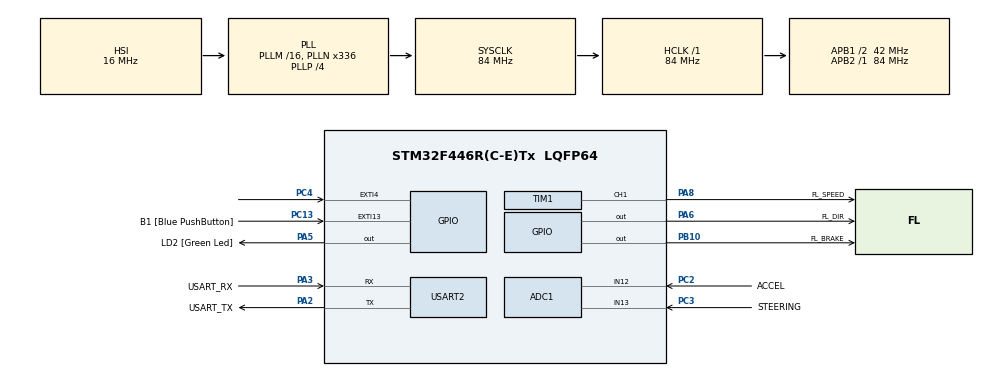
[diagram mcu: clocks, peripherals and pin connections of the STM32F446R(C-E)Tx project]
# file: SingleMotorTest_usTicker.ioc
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ADC1.Channel-0\#ChannelRegularConversion=ADC_CHANNEL_12
ADC1.Channel-1\#ChannelRegularConversion=ADC_CHANNEL_13
ADC1.DiscontinuousConvMode=ENABLE
ADC1.NbrOfConversion=2
ADC1.NbrOfConversionFlag=1
ADC1.NbrOfDiscConversion=2
ADC1.Rank-0\#ChannelRegularConversion=1
ADC1.Rank-1\#ChannelRegularConversion=2
ADC1.SamplingTime-0\#ChannelRegularConversion=ADC_SAMPLETIME_480CYCLES
ADC1.SamplingTime-1\#ChannelRegularConversion=ADC_SAMPLETIME_480CYCLES
ADC1.ScanConvMode=ENABLE
ADC1.master=1
Mcu.Family=STM32F4
Mcu.Name=STM32F446R(C-E)Tx
Mcu.Package=LQFP64
NVIC.EXTI4_IRQn=true\:0\:0\:false\:false\:true\:true\:true\:true
NVIC.PriorityGroup=NVIC_PRIORITYGROUP_0
NVIC.TIM1_UP_TIM10_IRQn=true\:0\:0\:false\:false\:true\:true\:true\:true
NVIC.TIM2_IRQn=true\:0\:0\:false\:false\:true\:true\:true\:true
PA13.GPIO_Label=TMS
PA13.Mode=Serial_Wire
PA13.Signal=SYS_JTMS-SWDIO
PA14.GPIO_Label=TCK
PA14.Mode=Serial_Wire
PA14.Signal=SYS_JTCK-SWCLK
PA2.GPIO_Label=USART_TX
PA2.Mode=Asynchronous
PA2.Signal=USART2_TX
PA3.GPIO_Label=USART_RX
PA3.Mode=Asynchronous
PA3.Signal=USART2_RX
PA5.GPIO_Label=LD2 [Green Led]
PA5.Signal=GPIO_Output
PA6.GPIO_Label=FL_DIR
PA6.Signal=GPIO_Output
PA8.GPIO_Label=FL_SPEED
PA8.Signal=S_TIM1_CH1
PB10.GPIO_Label=FL_BRAKE
PB10.Signal=GPIO_Output
PB3.GPIO_Label=SWO
PB3.Signal=SYS_JTDO-SWO
PC13.GPIO_Label=B1 [Blue PushButton]
PC13.GPIO_ModeDefaultEXTI=GPIO_MODE_IT_FALLING
PC13.Signal=GPXTI13
PC14-OSC32_IN.Mode=LSE-External-Oscillator
PC14-OSC32_IN.Signal=RCC_OSC32_IN
PC15-OSC32_OUT.Mode=LSE-External-Oscillator
PC15-OSC32_OUT.Signal=RCC_OSC32_OUT
PC2.GPIO_Label=ACCEL
PC2.Signal=ADCx_IN12
PC3.GPIO_Label=STEERING
PC3.Signal=ADCx_IN13
PC4.GPIO_ModeDefaultEXTI=GPIO_MODE_IT_RISING_FALLING
PC4.Signal=GPXTI4
PH0-OSC_IN.Mode=HSE-External-Oscillator
PH0-OSC_IN.Signal=RCC_OSC_IN
PH1-OSC_OUT.Mode=HSE-External-Oscillator
PH1-OSC_OUT.Signal=RCC_OSC_OUT
ProjectManager.HeapSize=0x200
ProjectManager.StackSize=0x400
ProjectManager.TargetToolchain=STM32CubeIDE
RCC.48MHZClocksFreq_Value=84000000
RCC.AHBFreq_Value=84000000
RCC.APB1CLKDivider=RCC_HCLK_DIV2
RCC.APB1Freq_Value=42000000
RCC.APB1TimFreq_Value=84000000
RCC.APB2Freq_Value=84000000
RCC.APB2TimFreq_Value=84000000
RCC.CortexFreq_Value=84000000
RCC.FLatency-AdvancedSettings=FLASH_LATENCY_2
RCC.HCLKFreq_Value=84000000
RCC.HSE_VALUE=8000000
RCC.HSI_VALUE=16000000
RCC.PLLN=336
RCC.PLLP=RCC_PLLP_DIV4
RCC.SYSCLKFreq_VALUE=84000000
RCC.SYSCLKSource=RCC_SYSCLKSOURCE_PLLCLK
RCC.USBFreq_Value=168000000
RCC.VCOOutputFreq_Value=336000000
SH.ADCx_IN12.0=ADC1_IN12,IN12
SH.ADCx_IN13.0=ADC1_IN13,IN13
SH.S_TIM1_CH1.0=TIM1_CH1,PWM Generation1 CH1
TIM1.Channel-PWM\ Generation1\ CH1=TIM_CHANNEL_1
TIM1.Period=800-1
TIM1.Prescaler=42-1
TIM1.Pulse-PWM\ Generation1\ CH1=700
TIM2.Period=20-1
TIM2.Prescaler=42-1
USART2.VirtualMode=VM_ASYNC
VP_TIM1_VS_ClockSourceINT.Mode=Internal
VP_TIM2_VS_ClockSourceINT.Mode=Internal
board=NUCLEO-F446RE

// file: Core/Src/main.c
/* USER CODE BEGIN Header */
/**
  ******************************************************************************
  * @file           : main.c
  * @brief          : Main program body
  ******************************************************************************
  * @attention
  *
  * Copyright (c) 2023 STMicroelectronics.
  * All rights reserved.
  *
  * This software is licensed under terms that can be found in the LICENSE file
  * in the root directory of this software component.
  * If no LICENSE file comes with this software, it is provided AS-IS.
  *
  ******************************************************************************
  */
/* USER CODE END Header */
#include "main.h"
#include "adc.h"
#include "tim.h"
#include "usart.h"
#include "gpio.h"

/* USER CODE BEGIN Includes */

#include "MY36GP_3650.h"

/* USER CODE END Includes */

void SystemClock_Config(void);

/* USER CODE BEGIN 0 */

uint16_t u16_counter_10us = 0;

void HAL_TIM_PeriodElapsedCallback(TIM_HandleTypeDef *htim)
{
	/*
	 * TIM10 이용 1us ticker 구현
	 *
	 * NUCELO - F446RE 보드 이용
	 * APB1 = 84Mhz
	 * APB2 = 84Mhz
	 *
	 * TIM10
	 * prescaler 	: 42 - 1
	 * counter		: 20 - 1
	 */
	if(htim->Instance == TIM2)
	{
		u16_counter_10us += 1;
	}

}

/*
 * GPIO interrupt 함수
 * EXTI4 이용 (PC4 핀)
 * TIM10으로 구현한 1us ticker를 이용하여 인터럽트 발생 시마다
 * 현재의 측정 tick값에서 이전의 tick값의 차를 주기로 설정
 *
 * 전역변수 u32_FL_half_period_10us에 계산한 주기값 저장
 * us 단위로 변환시킬려면 해당 변수에 *10을 하여 이용
 */
uint16_t u16_FL_half_period_10us;

void HAL_GPIO_EXTI_Callback(uint16_t GPIO_Pin)
{
//	static uint16_t u16_FL_tick_10us[2];
//
//
//	if(GPIO_Pin == GPIO_PIN_4)
//	{
////		HAL_GPIO_TogglePin(GPIOA, GPIO_PIN_5);		// for test
//
//		u16_FL_tick_10us[0] = u16_FL_tick_10us[1];
//		u16_FL_tick_10us[1] = u16_counter_10us;		// from global variable
//
//		u16_FL_half_period_10us = u16_FL_tick_10us[1] - u16_FL_tick_10us[0];
//	}
	static uint16_t u16_FL_tick_10us;

	if(GPIO_Pin == GPIO_PIN_4)
	{
//		HAL_GPIO_TogglePin(GPIOA, GPIO_PIN_5);		// for test
		uint16_t u16_ret_val = u16_counter_10us - u16_FL_tick_10us;
		u16_FL_tick_10us = u16_counter_10us;		// 미리 값 저장

//		if(u16_ret_val > 600)	u16_FL_half_period_10us = u16_ret_val;
		u16_FL_half_period_10us = u16_ret_val;
	}
}

/* USER CODE END 0 */

int main(void)
{
  /* USER CODE BEGIN 1 */

	uint32_t u32_adc_accel_value;
	uint32_t u32_adc_steering_value;
    uint32_t u32_ccr_value;
    float f_voltage;
    float f_FL_input_RPM;

//    float f_FL_measured_RPM;
    float f_FL_measured_RPM, f_FL_filtered_RPM;
    uint32_t u32_half_period_us, u32_filtered_half_period_us;

  /* USER CODE END 1 */

  /* MCU Configuration--------------------------------------------------------*/

  /* Reset of all peripherals, Initializes the Flash interface and the Systick. */
  HAL_Init();

  /* Configure the system clock */
  SystemClock_Config();

  /* Initialize all configured peripherals */
  MX_GPIO_Init();
  MX_USART2_UART_Init();
  MX_ADC1_Init();
  MX_TIM1_Init();
  MX_TIM2_Init();
  /* USER CODE BEGIN 2 */

 	  HAL_TIM_Base_Start_IT(&htim2);

  	  HAL_TIM_PWM_Start(&htim1, TIM_CHANNEL_1);

//  	uint32_t index = 0;
//	uint32_t u32_sum = 0;
//	uint32_t u32_data[WINDOW_SIZE] = {0, 0, 0, 0, 0, 0, 0, 0, 0, 0};
//	uint32_t u32_result;

//  uint8_t filter_index = 0;
//	float f_sum = 0;
//	float f_data[WINDOW_SIZE] = {0., 0., 0., 0., 0., 0., 0., 0., 0., 0.};
//	float f_result;
//

  /* USER CODE END 2 */

  /* Infinite loop */
  while (1)
  {

    /* USER CODE BEGIN 3 */

      HAL_ADC_Start(&hadc1);
      HAL_ADC_PollForConversion(&hadc1, 100);   // adc값 읽힐 때까지 최대 100ms 대기
      u32_adc_accel_value = HAL_ADC_GetValue(&hadc1);
//      HAL_ADC_Stop(&hadc1);

      HAL_ADC_PollForConversion(&hadc1, 100);   // adc값 읽힐 때까지 최대 100ms 대기
      u32_adc_steering_value = HAL_ADC_GetValue(&hadc1);

      HAL_ADC_Stop(&hadc1);

      f_voltage = float_map((float)u32_adc_accel_value, 0.0, (float)ADC_MAX_VALUE, 0.0, 3.3);		// 3.3은 stm32 구동전압

      f_FL_input_RPM = float_map((float)u32_adc_accel_value, ADC_MIN_VALUE, ADC_MAX_VALUE, 0.0, RATED_RPM);
      if (f_FL_input_RPM < 0.0)	f_FL_input_RPM = 0.0;

	  if (u32_adc_steering_value < (ADC_MAX_VALUE / 2))
		  FL_RunMotor(f_FL_input_RPM, CCW);
      else
    	  FL_RunMotor(f_FL_input_RPM, CW);

      u32_half_period_us = u16_FL_half_period_10us * 10;

      f_FL_measured_RPM = Period2RPM(u32_half_period_us * 2.);
//      f_FL_filtered_RPM = AvgFilter(f_FL_measured_RPM);

      if(f_FL_measured_RPM < 600)	f_FL_filtered_RPM = f_MovingAverage(f_FL_measured_RPM);		// 이거 함수 하나로 묶어야함

//      printf("%d\t%f \r\n", u32_half_period_us, f_FL_measured_RPM);
//      printf("input RPM %f\t meas %f\t filt %f \r\n", f_FL_input_RPM, f_FL_measured_RPM, f_result);

      printf("input RPM %f\t meas %f\t filt %f \r\n", f_FL_input_RPM, f_FL_measured_RPM, f_FL_filtered_RPM);
//      printf("filt %f \r\n", f_FL_filtered_RPM);

  }

  /* USER CODE END 3 */
}

void SystemClock_Config(void)
{
  RCC_OscInitTypeDef RCC_OscInitStruct = {0};
  RCC_ClkInitTypeDef RCC_ClkInitStruct = {0};

  /** Configure the main internal regulator output voltage
  */
  __HAL_RCC_PWR_CLK_ENABLE();
  __HAL_PWR_VOLTAGESCALING_CONFIG(PWR_REGULATOR_VOLTAGE_SCALE3);

  /** Initializes the RCC Oscillators according to the specified parameters
  * in the RCC_OscInitTypeDef structure.
  */
  RCC_OscInitStruct.OscillatorType = RCC_OSCILLATORTYPE_HSI;
  RCC_OscInitStruct.HSIState = RCC_HSI_ON;
  RCC_OscInitStruct.HSICalibrationValue = RCC_HSICALIBRATION_DEFAULT;
  RCC_OscInitStruct.PLL.PLLState = RCC_PLL_ON;
  RCC_OscInitStruct.PLL.PLLSource = RCC_PLLSOURCE_HSI;
  RCC_OscInitStruct.PLL.PLLM = 16;
  RCC_OscInitStruct.PLL.PLLN = 336;
  RCC_OscInitStruct.PLL.PLLP = RCC_PLLP_DIV4;
  RCC_OscInitStruct.PLL.PLLQ = 2;
  RCC_OscInitStruct.PLL.PLLR = 2;
  if (HAL_RCC_OscConfig(&RCC_OscInitStruct) != HAL_OK)
  {
    Error_Handler();
  }

  /** Initializes the CPU, AHB and APB buses clocks
  */
  RCC_ClkInitStruct.ClockType = RCC_CLOCKTYPE_HCLK|RCC_CLOCKTYPE_SYSCLK
                              |RCC_CLOCKTYPE_PCLK1|RCC_CLOCKTYPE_PCLK2;
  RCC_ClkInitStruct.SYSCLKSource = RCC_SYSCLKSOURCE_PLLCLK;
  RCC_ClkInitStruct.AHBCLKDivider = RCC_SYSCLK_DIV1;
  RCC_ClkInitStruct.APB1CLKDivider = RCC_HCLK_DIV2;
  RCC_ClkInitStruct.APB2CLKDivider = RCC_HCLK_DIV1;

  if (HAL_RCC_ClockConfig(&RCC_ClkInitStruct, FLASH_LATENCY_2) != HAL_OK)
  {
    Error_Handler();
  }
}

void Error_Handler(void)
{
  /* USER CODE BEGIN Error_Handler_Debug */
  /* User can add his own implementation to report the HAL error return state */
  __disable_irq();
  while (1)
  {
	  printf("you can't sleep now");
  }
  /* USER CODE END Error_Handler_Debug */
}
